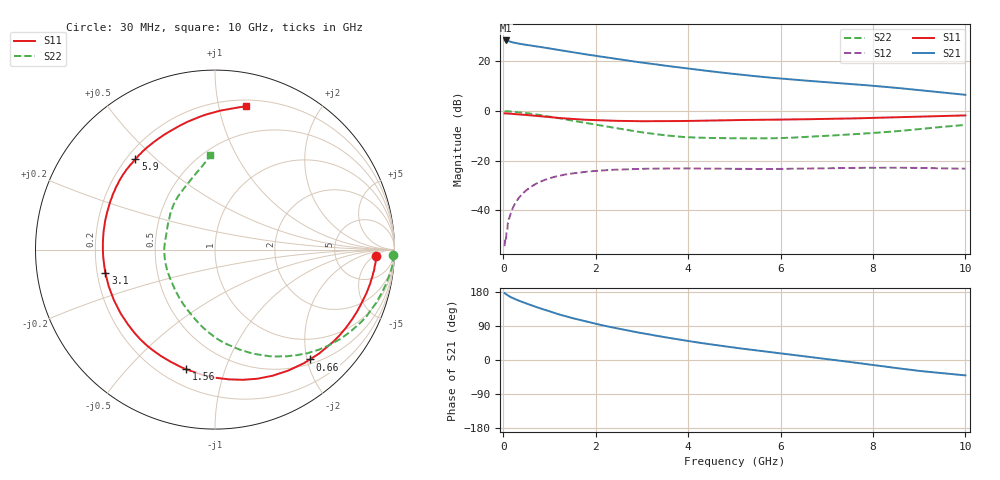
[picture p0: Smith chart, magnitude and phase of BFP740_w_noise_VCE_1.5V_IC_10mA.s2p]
! Infineon Technologies  Discrete & RF Semiconductors
! BFP740
! VCE =  1.5 V,  IC =  10 mA
! Common Emitter S-Parameters:  Jan 2016
# GHz  S  MA  R  50
!  f  S11  S21  S12  S22
! GHz  MAG  ANG  MAG  ANG  MAG  ANG  MAG  ANG
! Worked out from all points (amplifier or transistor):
!   229 points, 30 MHz to 10 GHz, reference 50 ohm
!   highest |S21| = 28.4 dB at 50 MHz (marker M1)
!   |S21| within 3 dB of that: start of sweep to 935 MHz
!   unconditionally stable (mu >= 1): 6.972 GHz to end of sweep
!   at 280 MHz: K = 0.14, MSG = 31.9 dB, |S12| = -36.5 dB
!   at 1.78 GHz: K = 0.33, MSG = 23.7 dB, |S12| = -24.5 dB
!   at 10 GHz: K = 1.11, MAG = 12.9 dB, |S12| = -23.2 dB
!   lowest NFmin = 0.51 dB at 450 MHz
!   S11 on the Smith chart (normalised r, x): 30 MHz: 16, -6; 660 MHz: 0.58, -2.05; 1.56 GHz: 0.30, -0.74; 3.1 GHz: 0.23, -0.10; 5.9 GHz: 0.24, +0.43; 10 GHz: 0.25, +1.21
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0.03  0.8985 -2.4  26.33 176.6  0.0019 83.9  0.9948 -1.6
0.05  0.898 -4.2  26.4 174.9  0.0023 78.9  0.9943 -3.0
0.13  0.887 -10.8  25.34 168.1  0.0069 84.7  0.9848 -7.6
0.26  0.8684 -20.6  23.55 160.5  0.0139 78.5  0.96 -14.4
0.42  0.8464 -32.3  22.11 152.8  0.0217 71.7  0.927 -22.3
0.66  0.8085 -49.2  20.42 142.2  0.0322 62.2  0.8683 -33.5
0.9  0.7726 -65.4  18.93 132.1  0.0412 53.6  0.8032 -44.0
1.1  0.7419 -77.9  17.63 124.3  0.0472 47.4  0.745 -52.1
1.32  0.7118 -90.5  16.24 116.5  0.0523 41.3  0.6862 -60.2
1.56  0.6851 -103.6  14.97 108.7  0.0565 35.5  0.627 -68.4
1.7  0.6734 -110.8  14.28 104.3  0.0588 32.5  0.5949 -72.9
2.02  0.6543 -126.1  12.84 95.1  0.0627 26.3  0.5286 -83.3
2.32  0.6398 -139.0  11.63 87.0  0.0654 21.2  0.474 -92.4
2.8  0.6268 -157.5  10.04 75.4  0.0678 14.4  0.399 -106.9
3.1  0.6244 -168.0  9.196 68.7  0.0689 10.8  0.3622 -116.6
3.4  0.6243 -177.9  8.454 62.2  0.0695 7.2  0.3336 -126.8
4.2  0.6367 160.2  6.803 46.4  0.0696 -0.2  0.2917 -154.4
5.1  0.6586 142.5  5.448 31.1  0.0685 -5.9  0.2828 -179.3
5.9  0.6712 131.4  4.602 19.0  0.0682 -9.0  0.2839 163.1
6.8  0.6895 119.7  3.931 5.6  0.0702 -12.8  0.3083 145.7
8.4  0.7465 96.1  2.991 -19.6  0.0722 -21.8  0.3846 116.2
10  0.8165 77.9  2.123 -40.6  0.0691 -28.7  0.5257 93.0
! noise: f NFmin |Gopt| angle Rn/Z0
0.45  0.51  0.22  7  0.16
0.9  0.52  0.22  13  0.16
1.5  0.54  0.21  22  0.15
1.9  0.57  0.21  40  0.15
2.4  0.6  0.2  46  0.14
3.5  0.7  0.18  59  0.13
5.5  0.87  0.17  198  0.12
10  1.35  0.51  -74  0.16
